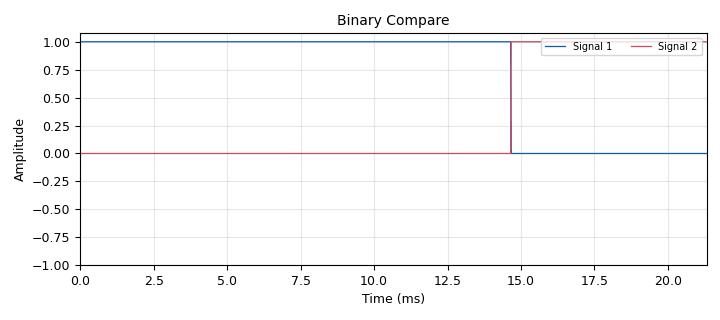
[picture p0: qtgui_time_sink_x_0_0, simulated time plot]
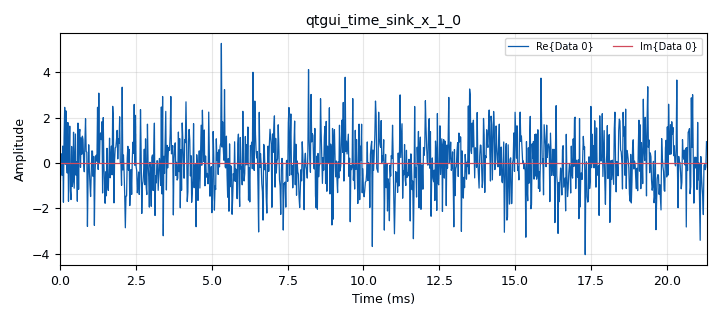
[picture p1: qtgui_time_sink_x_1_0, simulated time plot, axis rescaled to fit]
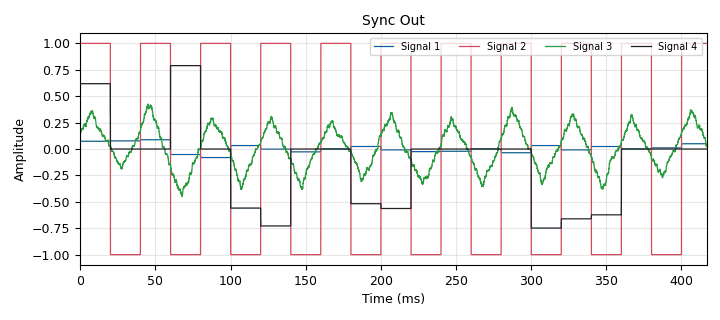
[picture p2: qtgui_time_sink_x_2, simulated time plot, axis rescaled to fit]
options:
  parameters:
    author: AA, AV, OW
    generate_options: qt_gui
    id: AC
    output_language: python
    title: Acoustic Communication
  states: {}

blocks:
- name: EbN0_dB
  id: variable
  parameters:
    value: '1000'
  states: {}
- name: deviation
  id: variable
  parameters:
    value: '250'
  states: {}
- name: fc
  id: variable
  parameters:
    value: '1500'
  states: {}
- name: samp_rate
  id: variable
  parameters:
    value: '48000'
  states: {}
- name: sig_pwr
  id: variable
  parameters:
    value: '1'
  states: {}
- name: sql_level
  id: variable_qtgui_range
  parameters:
    start: '-100'
    step: '5'
    stop: '100'
    value: '-40'
  states: {}
- name: sql_level2
  id: variable_qtgui_range
  parameters:
    start: '-100'
    step: '5'
    stop: '100'
    value: '-40'
  states: {}
- name: symbol_rate
  id: variable
  parameters:
    value: '50'
  states: {}
- name: analog_agc_xx_0
  id: analog_agc_xx
  parameters:
    gain: '1'
    max_gain: '20'
    rate: '1e-1'
    reference: '1.0'
    type: complex
  states: {}
- name: analog_agc_xx_0_0
  id: analog_agc_xx
  parameters:
    gain: '1.0'
    max_gain: '65536'
    rate: '1e-1'
    reference: '1.0'
    type: float
  states: {state: disabled}
- name: analog_const_source_x_1
  id: analog_const_source_x
  parameters:
    const: '0'
    type: float
  states: {state: disabled}
- name: analog_const_source_x_1_0
  id: analog_const_source_x
  parameters:
    const: '0'
    type: float
  states: {state: disabled}
- name: analog_frequency_modulator_fc_0
  id: analog_frequency_modulator_fc
  parameters:
    sensitivity: 2*math.pi*deviation/samp_rate
  states: {}
- name: analog_noise_source_x_1
  id: analog_noise_source_x
  parameters:
    amp: math.sqrt( sig_pwr/ (10**(EbN0_dB/10)) * samp_rate/symbol_rate )
    noise_type: analog.GR_GAUSSIAN
    seed: '0'
    type: complex
  states: {state: disabled}
- name: analog_sig_source_x_0
  id: analog_sig_source_x
  parameters:
    amp: '2'
    freq: fc-deviation
    offset: '0'
    phase: '0'
    samp_rate: samp_rate
    type: complex
    waveform: analog.GR_COS_WAVE
  states: {}
- name: analog_sig_source_x_0_0
  id: analog_sig_source_x
  parameters:
    amp: '2'
    freq: fc+deviation
    offset: '0'
    phase: '0'
    samp_rate: samp_rate
    type: complex
    waveform: analog.GR_COS_WAVE
  states: {}
- name: analog_sig_source_x_1
  id: analog_sig_source_x
  parameters:
    amp: '1'
    freq: fc
    offset: '0'
    phase: '0'
    samp_rate: samp_rate
    type: complex
    waveform: analog.GR_COS_WAVE
  states: {}
- name: analog_simple_squelch_cc_1
  id: analog_simple_squelch_cc
  parameters:
    alpha: '1'
    threshold: sql_level
  states: {}
- name: analog_simple_squelch_cc_1_0
  id: analog_simple_squelch_cc
  parameters:
    alpha: '1'
    threshold: sql_level2
  states: {}
- name: audio_sink_0
  id: audio_sink
  parameters:
    device_name: '"Speakers / Headphones"'
    samp_rate: samp_rate
  states: {state: disabled}
- name: audio_source_0
  id: audio_source
  parameters:
    device_name: '"Microphone"'
    samp_rate: samp_rate
  states: {state: disabled}
- name: blocks_add_const_vxx_0
  id: blocks_add_const_vxx
  parameters:
    const: '-1'
    type: float
  states: {}
- name: blocks_add_xx_0
  id: blocks_add_xx
  parameters:
    type: complex
  states: {state: disabled}
- name: blocks_char_to_float_0
  id: blocks_char_to_float
  parameters:
    scale: '0.5'
  states: {}
- name: blocks_char_to_float_0_0_0
  id: blocks_char_to_float
  parameters:
    scale: '1'
  states: {}
- name: blocks_char_to_float_0_0_0_0
  id: blocks_char_to_float
  parameters:
    scale: '1'
  states: {}
- name: blocks_complex_to_mag_squared_0
  id: blocks_complex_to_mag_squared
  parameters: {}
  states: {}
- name: blocks_complex_to_mag_squared_0_0
  id: blocks_complex_to_mag_squared
  parameters: {}
  states: {}
- name: blocks_complex_to_real_0
  id: blocks_complex_to_real
  parameters: {}
  states: {}
- name: blocks_complex_to_real_1
  id: blocks_complex_to_real
  parameters: {}
  states: {}
- name: blocks_complex_to_real_2
  id: blocks_complex_to_real
  parameters: {}
  states: {}
- name: blocks_float_to_complex_0
  id: blocks_float_to_complex
  parameters: {}
  states: {}
- name: blocks_float_to_complex_0_0
  id: blocks_float_to_complex
  parameters: {}
  states: {state: disabled}
- name: blocks_float_to_complex_0_1
  id: blocks_float_to_complex
  parameters: {}
  states: {}
- name: blocks_float_to_complex_0_2
  id: blocks_float_to_complex
  parameters: {}
  states: {}
- name: blocks_moving_average_xx_0_0
  id: blocks_moving_average_xx
  parameters:
    length: int(samp_rate/symbol_rate)
    max_iter: '4000'
    scale: symbol_rate/samp_rate
    type: complex
  states: {}
- name: blocks_moving_average_xx_0_0_0
  id: blocks_moving_average_xx
  parameters:
    length: int(samp_rate/symbol_rate)
    max_iter: '4000'
    scale: symbol_rate/samp_rate
    type: complex
  states: {}
- name: blocks_multiply_const_vxx_0
  id: blocks_multiply_const_vxx
  parameters:
    const: max_gain
    type: complex
  states: {state: disabled}
- name: blocks_multiply_xx_0
  id: blocks_multiply_xx
  parameters:
    type: complex
  states: {}
- name: blocks_multiply_xx_0_0
  id: blocks_multiply_xx
  parameters:
    type: complex
  states: {}
- name: blocks_multiply_xx_1
  id: blocks_multiply_xx
  parameters:
    type: complex
  states: {}
- name: blocks_null_sink_0
  id: blocks_null_sink
  parameters:
    type: float
  states: {state: disabled}
- name: blocks_null_sink_1
  id: blocks_null_sink
  parameters:
    type: byte
  states: {}
- name: blocks_pack_k_bits_bb_0
  id: blocks_pack_k_bits_bb
  parameters:
    k: '8'
  states: {}
- name: blocks_pack_k_bits_bb_0_0
  id: blocks_pack_k_bits_bb
  parameters:
    k: '8'
  states: {}
- name: blocks_repeat_0
  id: blocks_repeat
  parameters:
    interp: int(samp_rate/symbol_rate)
    type: float
  states: {}
- name: blocks_repeat_1
  id: blocks_repeat
  parameters:
    interp: int(samp_rate/symbol_rate)
    type: float
  states: {}
- name: blocks_repeat_1_0
  id: blocks_repeat
  parameters:
    interp: int(samp_rate/symbol_rate)
    type: float
  states: {}
- name: blocks_repeat_1_1
  id: blocks_repeat
  parameters:
    interp: int(samp_rate/symbol_rate)
    type: float
  states: {}
- name: blocks_repeat_1_2
  id: blocks_repeat
  parameters:
    interp: int(samp_rate/symbol_rate)
    type: float
  states: {}
- name: blocks_sub_xx_0
  id: blocks_sub_xx
  parameters:
    type: float
  states: {}
- name: blocks_throttle2_0
  id: blocks_throttle2
  parameters:
    samples_per_second: samp_rate
    type: float
  states: {}
- name: blocks_throttle2_1
  id: blocks_throttle2
  parameters:
    samples_per_second: samp_rate
    type: complex
  states: {state: disabled}
- name: blocks_throttle2_1_0_0
  id: blocks_throttle2
  parameters:
    samples_per_second: samp_rate
    type: byte
  states: {state: disabled}
- name: blocks_unpack_k_bits_bb_0
  id: blocks_unpack_k_bits_bb
  parameters:
    k: '8'
  states: {}
- name: blocks_unpack_k_bits_bb_0_0
  id: blocks_unpack_k_bits_bb
  parameters:
    k: '8'
  states: {}
- name: blocks_vector_source_x_0
  id: blocks_vector_source_x
  parameters:
    repeat: 'True'
    type: byte
    vector: '[0,1]'
  states: {}
- name: channels_channel_model_0
  id: channels_channel_model
  parameters:
    epsilon: '1'
    freq_offset: '0.0'
    noise_voltage: 0*math.sqrt( sig_pwr/ (10**(EbN0_dB/10)) * samp_rate/symbol_rate )
    seed: '0'
    taps: '1.0'
  states: {state: disabled}
- name: channels_channel_model_1
  id: channels_channel_model
  parameters:
    epsilon: '1.0'
    freq_offset: '0.0'
    noise_voltage: '0.0'
    seed: '0'
    taps: '1.0'
  states: {state: disabled}
- name: channels_channel_model_2
  id: channels_channel_model
  parameters:
    epsilon: '1.001'
    freq_offset: '0.0'
    noise_voltage: '3'
    seed: '0'
    taps: '[1]'
  states: {}
- name: digital_binary_slicer_fb_0
  id: digital_binary_slicer_fb
  parameters: {}
  states: {}
- name: digital_glfsr_source_x_0
  id: digital_glfsr_source_x
  parameters:
    degree: '20'
    mask: '0'
    repeat: 'True'
    seed: '1'
    type: byte
  states: {state: disabled}
- name: digital_packet_headergenerator_bb_default_0
  id: digital_packet_headergenerator_bb_default
  parameters:
    header_len: '5'
    len_tag_key: '"packet_len"'
  states: {state: disabled}
- name: digital_symbol_sync_xx_0
  id: digital_symbol_sync_xx
  parameters:
    damping: '1.0'
    loop_bw: '0.05'
    max_dev: '100.5'
    osps: '1'
    resamp_type: digital.IR_MMSE_8TAP
    sps: int(samp_rate/symbol_rate)
    ted_gain: '1.0'
    ted_type: digital.TED_ZERO_CROSSING
    type: ff
  states: {}
- name: epy_block_0
  id: epy_block
  parameters:
    _source_code: "\"\"\"\nEmbedded Python Blocks:\n\nEach time this file is saved, GRC will instantiate the first class it finds\nto get ports and parameters of your block. The arguments to __init__  will\nbe the parameters. All of them are required to have default values!\n\"\"\"\n\nimport numpy as np\nfrom gnuradio import gr\nimport time\nimport collections\n\n\nclass blk(gr.sync_block):  # other base classes are basic_block, decim_block, interp_block\n    \"\"\"Embedded Python Block example - a simple multiply const\"\"\"\n\n    def __init__(self, start_pattern=[0,1,0,1,0,0,1,1], payload_length=80):  # only default arguments here\n        \"\"\"arguments to this function show up as parameters in GRC\"\"\"\n        gr.sync_block.__init__(\n            self,\n            name='Embedded Python Block',   # will show up in GRC\n            in_sig=[np.byte],#in_sig=[np.byte]\n            out_sig=[np.byte]\n        )\n        \n        # if an attribute with the same name as a parameter is found,\n        # a callback is registered (properties work, too).\n        self.start_pattern = start_pattern\n        self.start_pattern_length = len(start_pattern)\n        \n        self.payload_length = payload_length\n        \n        # Use a deque for an efficient fixed-size sliding window\n        self.buffer = collections.deque(maxlen=self.start_pattern_length)\n        \n        self.morse = {\n            18: \"A\",\n            13: \"B\",\n            26: \"C\",\n            11: \"D\",\n            28: \"E\",\n            7: \"F\",\n            22: \"G\",\n            14: \"H\",\n            25: \"I\",\n            5: \"Z\",\n            17: \"K\",\n            9: \"L\",\n            29: \"M\",\n            6: \"V\",\n            23: \"O\",\n            12: \"P\",\n            27: \"Q\",\n            4: \"R\",\n            19: \"S\",\n            10: \"T\",\n            30: \"U\",\n            20: \"W\",\n            15: \"X\",\n            24: \"Y\",\n            0: \"?\",\n            21: \" \"\n        }\n        \n        \n    def work(self, input_items, output_items):\n        # [0,1,0,1,0,0,1,1,0,1,0,0,1,0,0,0,0,1,1,0,0,1,0,1,0,1,1,0,1,1,0,0,0,1,1,0,1,1,0,0,0,1,1,0,1,1,1,1,0,0,1,0,0,0,0,1]\n        # Start message (\"S\"): 0,1,0,1,0,0,1,1\n        sleep_sec = 5\n        \n        data_in = input_items[0]\n        #data_in = data_in[len(data_in)-70:len(data_in)]\n        #print(self.start_pattern)\n        #print(input_items[0][:])\n        \n        print(\"Processing \", len(input_items[0][:]), \" bits\")\n        # Check if any element in the array is equal to the target value\n        if len(input_items[0][:]) >= (self.start_pattern_length + self.payload_length):\n            print(\"Looking for a message start sequence ...\")\n            \n            #num_items_search = len(data_in) - (len(data_in) % self.payload_length)\n            #data_in_search = data_in[0:num_items_search]\n            data_in_search = data_in\n            \n            #print(\"Had \", len(data_in), \" items. Searching through \", len(data_in_search), \" items.\")\n            for index, item in enumerate(data_in_search):\n                if (len(data_in_search) - index - 1) < self.payload_length:\n                    break\n                \n                self.buffer.append(item)\n                \n                # Check for the start_pattern only when the buffer is full\n                if len(self.buffer) == self.start_pattern_length:\n                    if list(self.buffer) == self.start_pattern:\n                        print(\"A message start sequence was found! Reading the message ...\")\n                        print(index)\n                        print(len(data_in_search))\n                        \n                        \n                        extracted_payload = data_in_search[(index + 1):(index + 1 + self.payload_length)]\n                        extracted_payload_with_start = data_in_search[(index + 1 - self.start_pattern_length):(index + 1 + self.payload_length)]\n                        #converted_chars = self.bits_to_chars(extracted_payload)\n                        converted_chars = self.bits_to_custom_chars(extracted_payload)\n                        print(extracted_payload_with_start)\n                        print(\"\".join(converted_chars).replace(\"?\", \"\").replace(\"!\",\"\"))\n                        #print(converted_chars)\n                        \n                        time.sleep(sleep_sec)\n                        return len(output_items[0])\n\n        time.sleep(sleep_sec)\n        \n        return len(output_items[0])\n        \n    def bits_to_custom_chars(self, bit_list):\n        \"\"\"\n        Converts a list of 0s and 1s (bits) into a list of characters.\n        Args: bit_list (list): A list of integers (0 or 1) representing a bit stream.\n        Returns: List: A list of characters.\n        \"\"\"\n        # Ensure the bit list length is a multiple of 5\n        if len(bit_list) % 5 != 0:\n            raise ValueError(\"The bit list must have a length that is a multiple of 5 to form custom characters.\")\n        \n        custom_char_list = []\n        # Process the bit stream in chunks of 5\n        for i in range(0, len(bit_list), 5):\n            custom_byte_value = 0\n            five_bits = bit_list[i:i+5]\n            #print(five_bits)\n            \n            # Convert the 5 bits to a single byte value\n            for j in range(5):\n                custom_byte_value += five_bits[j] * (2**((5-1) - j))\n            \n            #print(custom_byte_value)\n            if not(custom_byte_value in self.morse):\n                custom_char_list.append(\"!\")\n            else:\n                # Convert the byte value to a character and add to the list\n                custom_char_list.append(self.morse[custom_byte_value])\n            \n        return custom_char_list\n    \n    \n    def bits_to_chars(self, bit_list):\n        \"\"\"\n        Converts a list of 0s and 1s (bits) into a list of characters.\n        Args: bit_list (list): A list of integers (0 or 1) representing a bit stream.\n        Returns: List: A list of characters.\n        \"\"\"\n        # Ensure the bit list length is a multiple of 8\n        if len(bit_list) % 8 != 0:\n            raise ValueError(\"The bit list must have a length that is a multiple of 8 to form characters.\")\n        \n        char_list = []\n        # Process the bit stream in chunks of 8\n        for i in range(0, len(bit_list), 8):\n            byte_value = 0\n            eight_bits = bit_list[i:i+8]\n            \n            # Convert the 8 bits to a single byte value\n            for j in range(8):\n                byte_value += eight_bits[j] * (2**(7 - j))\n                \n            # Convert the byte value to a character and add to the list\n            char_list.append(chr(byte_value))\n            \n        return char_list\n        \n        \n    "
    payload_length: '80'
    start_pattern: '[0,1,0,1,0,1]'
  states: {}
- name: import_0
  id: import
  parameters:
    imports: import math
  states: {}
- name: qtgui_freq_sink_x_0
  id: qtgui_freq_sink_x
  parameters:
    bw: samp_rate
    fc: '0'
    fftsize: '1024'
    type: complex
  states: {state: disabled}
- name: qtgui_sink_x_0
  id: qtgui_sink_x
  parameters:
    bw: samp_rate
    fc: '0'
    fftsize: '1024'
    plotwaterfall: 'False'
    type: float
    wintype: window.WIN_KAISER
  states: {state: disabled}
- name: qtgui_sink_x_0_0
  id: qtgui_sink_x
  parameters:
    bw: samp_rate
    fc: '0'
    fftsize: '1024'
    plotwaterfall: 'False'
    type: float
    wintype: window.WIN_KAISER
  states: {state: disabled}
- name: qtgui_time_sink_x_0
  id: qtgui_time_sink_x
  parameters:
    ctrlpanel: 'True'
    size: '1024'
    srate: samp_rate
    type: complex
  states: {state: disabled}
- name: qtgui_time_sink_x_0_0
  id: qtgui_time_sink_x
  parameters:
    ctrlpanel: 'True'
    name: '"Binary Compare"'
    nconnections: '2'
    size: '1024'
    srate: samp_rate
    type: float
  states: {}
- name: qtgui_time_sink_x_1
  id: qtgui_time_sink_x
  parameters:
    size: '1024'
    srate: samp_rate
    type: float
  states: {state: disabled}
- name: qtgui_time_sink_x_1_0
  id: qtgui_time_sink_x
  parameters:
    size: '1024'
    srate: samp_rate
    type: complex
  states: {}
- name: qtgui_time_sink_x_2
  id: qtgui_time_sink_x
  parameters:
    ctrlpanel: 'True'
    name: Sync Out
    nconnections: '4'
    size: '20000'
    srate: samp_rate
    tr_level: '0.05'
    tr_mode: qtgui.TRIG_MODE_NORM
    type: float
    ymax: '0.5'
    ymin: '-0.5'
  states: {}
- name: qtgui_time_sink_x_2_0
  id: qtgui_time_sink_x
  parameters:
    ctrlpanel: 'True'
    name: Subtract Out
    size: '20000'
    srate: samp_rate
    tr_level: '0.05'
    tr_mode: qtgui.TRIG_MODE_NORM
    type: float
    ymax: '0.5'
    ymin: '-0.5'
  states: {state: disabled}
- name: virtual_sink_0
  id: virtual_sink
  parameters: {}
  states: {}
- name: virtual_source_0
  id: virtual_source
  parameters: {}
  states: {}

connections:
- [analog_agc_xx_0, '0', blocks_multiply_xx_0, '0']
- [analog_agc_xx_0, '0', blocks_multiply_xx_0_0, '1']
- [analog_agc_xx_0, '0', qtgui_time_sink_x_1_0, '0']
- [analog_agc_xx_0_0, '0', blocks_float_to_complex_0_0, '0']
- [analog_const_source_x_1, '0', blocks_float_to_complex_0, '1']
- [analog_const_source_x_1_0, '0', blocks_float_to_complex_0_0, '1']
- [analog_frequency_modulator_fc_0, '0', blocks_add_xx_0, '1']
- [analog_frequency_modulator_fc_0, '0', blocks_multiply_xx_1, '0']
- [analog_frequency_modulator_fc_0, '0', channels_channel_model_0, '0']
- [analog_noise_source_x_1, '0', blocks_throttle2_1, '0']
- [analog_sig_source_x_0, '0', blocks_multiply_xx_0, '1']
- [analog_sig_source_x_0_0, '0', blocks_multiply_xx_0_0, '0']
- [analog_sig_source_x_1, '0', blocks_multiply_xx_1, '1']
- [analog_simple_squelch_cc_1, '0', analog_agc_xx_0, '0']
- [analog_simple_squelch_cc_1, '0', blocks_multiply_const_vxx_0, '0']
- [analog_simple_squelch_cc_1_0, '0', blocks_complex_to_real_1, '0']
- [audio_source_0, '0', analog_agc_xx_0_0, '0']
- [audio_source_0, '0', blocks_float_to_complex_0, '0']
- [audio_source_0, '0', qtgui_time_sink_x_1, '0']
- [blocks_add_const_vxx_0, '0', blocks_repeat_0, '0']
- [blocks_add_xx_0, '0', blocks_multiply_xx_1, '0']
- [blocks_char_to_float_0, '0', blocks_add_const_vxx_0, '0']
- [blocks_char_to_float_0_0_0, '0', blocks_repeat_1_0, '0']
- [blocks_char_to_float_0_0_0_0, '0', blocks_repeat_1_1, '0']
- [blocks_complex_to_mag_squared_0, '0', blocks_sub_xx_0, '0']
- [blocks_complex_to_mag_squared_0, '0', qtgui_sink_x_0, '0']
- [blocks_complex_to_mag_squared_0_0, '0', blocks_sub_xx_0, '1']
- [blocks_complex_to_real_0, '0', audio_sink_0, '0']
- [blocks_complex_to_real_0, '0', blocks_throttle2_0, '0']
- [blocks_complex_to_real_1, '0', digital_symbol_sync_xx_0, '0']
- [blocks_complex_to_real_1, '0', qtgui_time_sink_x_2, '2']
- [blocks_complex_to_real_1, '0', qtgui_time_sink_x_2_0, '0']
- [blocks_complex_to_real_2, '0', virtual_sink_0, '0']
- [blocks_float_to_complex_0, '0', analog_simple_squelch_cc_1, '0']
- [blocks_float_to_complex_0_0, '0', blocks_multiply_xx_0, '0']
- [blocks_float_to_complex_0_0, '0', blocks_multiply_xx_0_0, '1']
- [blocks_float_to_complex_0_1, '0', analog_simple_squelch_cc_1_0, '0']
- [blocks_float_to_complex_0_2, '0', channels_channel_model_2, '0']
- [blocks_moving_average_xx_0_0, '0', blocks_complex_to_mag_squared_0, '0']
- [blocks_moving_average_xx_0_0_0, '0', blocks_complex_to_mag_squared_0_0, '0']
- [blocks_multiply_const_vxx_0, '0', blocks_multiply_xx_0, '0']
- [blocks_multiply_const_vxx_0, '0', blocks_multiply_xx_0_0, '1']
- [blocks_multiply_const_vxx_0, '0', qtgui_time_sink_x_1_0, '0']
- [blocks_multiply_xx_0, '0', blocks_moving_average_xx_0_0_0, '0']
- [blocks_multiply_xx_0_0, '0', blocks_moving_average_xx_0_0, '0']
- [blocks_multiply_xx_1, '0', blocks_complex_to_real_0, '0']
- [blocks_multiply_xx_1, '0', qtgui_freq_sink_x_0, '0']
- [blocks_pack_k_bits_bb_0, '0', blocks_unpack_k_bits_bb_0_0, '0']
- [blocks_pack_k_bits_bb_0_0, '0', blocks_unpack_k_bits_bb_0, '0']
- [blocks_repeat_0, '0', analog_frequency_modulator_fc_0, '0']
- [blocks_repeat_0, '0', qtgui_time_sink_x_2, '1']
- [blocks_repeat_1, '0', qtgui_sink_x_0_0, '0']
- [blocks_repeat_1, '0', qtgui_time_sink_x_2, '0']
- [blocks_repeat_1_0, '0', qtgui_time_sink_x_0_0, '0']
- [blocks_repeat_1_1, '0', qtgui_time_sink_x_0_0, '1']
- [blocks_repeat_1_2, '0', qtgui_time_sink_x_2, '3']
- [blocks_sub_xx_0, '0', blocks_float_to_complex_0_1, '0']
- [blocks_throttle2_0, '0', blocks_float_to_complex_0_2, '0']
- [blocks_throttle2_1, '0', blocks_add_xx_0, '0']
- [blocks_throttle2_1_0_0, '0', blocks_char_to_float_0, '0']
- [blocks_throttle2_1_0_0, '0', blocks_pack_k_bits_bb_0, '0']
- [blocks_unpack_k_bits_bb_0, '0', blocks_char_to_float_0_0_0_0, '0']
- [blocks_unpack_k_bits_bb_0_0, '0', blocks_char_to_float_0_0_0, '0']
- [blocks_vector_source_x_0, '0', blocks_char_to_float_0, '0']
- [blocks_vector_source_x_0, '0', blocks_pack_k_bits_bb_0, '0']
- [blocks_vector_source_x_0, '0', blocks_throttle2_1_0_0, '0']
- [blocks_vector_source_x_0, '0', digital_packet_headergenerator_bb_default_0, '0']
- [channels_channel_model_0, '0', blocks_multiply_xx_1, '0']
- [channels_channel_model_0, '0', qtgui_time_sink_x_0, '0']
- [channels_channel_model_2, '0', blocks_complex_to_real_2, '0']
- [digital_binary_slicer_fb_0, '0', blocks_pack_k_bits_bb_0_0, '0']
- [digital_binary_slicer_fb_0, '0', epy_block_0, '0']
- [digital_glfsr_source_x_0, '0', blocks_throttle2_1_0_0, '0']
- [digital_packet_headergenerator_bb_default_0, '0', blocks_char_to_float_0, '0']
- [digital_symbol_sync_xx_0, '0', blocks_repeat_1, '0']
- [digital_symbol_sync_xx_0, '0', digital_binary_slicer_fb_0, '0']
- [digital_symbol_sync_xx_0, '1', blocks_repeat_1_2, '0']
- [epy_block_0, '0', blocks_null_sink_1, '0']
- [virtual_source_0, '0', blocks_float_to_complex_0, '0']
- [virtual_source_0, '0', qtgui_time_sink_x_1, '0']

metadata:
  file_format: 1
  grc_version: 3.10.10.0
